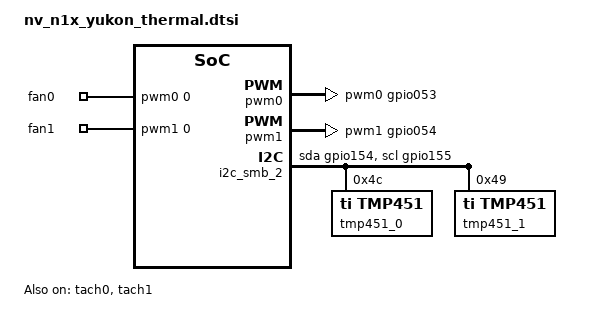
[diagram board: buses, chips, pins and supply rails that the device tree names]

#include <dt-bindings/pwm/pwm.h>

/ {
	pwmfans {
		compatible = "pwm-leds";
		fan0: fan0 {
			pwms = <&pwm0 0 PWM_USEC(40) PWM_POLARITY_INVERTED>;
		};

		fan1: fan1 {
			pwms = <&pwm1 0 PWM_USEC(40) PWM_POLARITY_INVERTED>;
		};
	};
};

&pwm0 {
	status = "okay";
	pinctrl-0 = <&pwm0_gpio053>;
	pinctrl-names = "default";
};

&pwm1 {
	status = "okay";
	pinctrl-0 = <&pwm1_gpio054>;
	pinctrl-names = "default";
};

&tach0 {
	status = "okay";
	pinctrl-0 = <&tach0_gpio050>;
	pinctrl-names = "default";
};

&tach1 {
	status = "okay";
	pinctrl-0 = <&tach1_gpio051>;
	pinctrl-names = "default";
};

&i2c_smb_2 {
	status = "okay";
	port_sel = <2>;
	pinctrl-0 = <&i2c02_sda_gpio154 &i2c02_scl_gpio155>;
	pinctrl-names = "default";

	tmp451_0: tmp451_0@4c {
		compatible = "ti,tmp451";
		reg = <0x4c>;
		alert-therm2-mode; 			 // 配置為 ALERT 輸出
        conversion-rate = <8>;       // 16 conversions/sec
        digital-filter-level = <0>;  // 關閉數位濾波器
	};

	tmp451_1: tmp451_1@49 {
		compatible = "ti,tmp451";
		reg = <0x49>;
		alert-therm2-mode; 			 // 配置為 ALERT 輸出
        conversion-rate = <8>;       // 16 conversions/sec
        digital-filter-level = <0>;  // 關閉數位濾波器
	};
};
